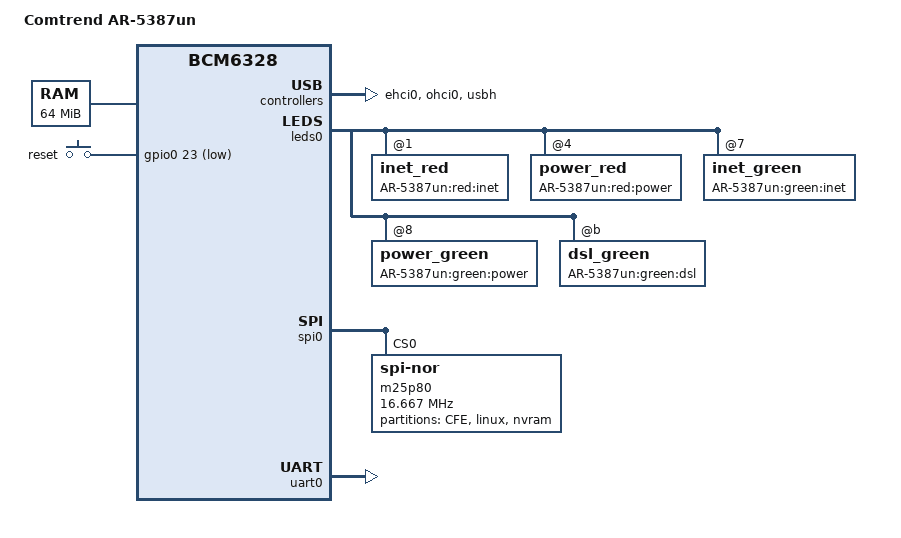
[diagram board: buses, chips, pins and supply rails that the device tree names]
/dts-v1/;

#include "bcm6328.dtsi"

/ {
	compatible = "comtrend,ar-5387un", "brcm,bcm6328";
	model = "Comtrend AR-5387un";

	memory@0 {
		device_type = "memory";
		reg = <0x00000000 0x04000000>;
	};

	chosen {
		bootargs = "earlycon";
		stdout-path = "uart0:115200";
	};

	gpio-keys-polled {
		compatible = "gpio-keys-polled";
		#address-cells = <1>;
		#size-cells = <0>;
		poll-interval = <20>;
		debounce-interval = <60>;

		reset {
			label = "reset";
			gpios = <&gpio0 23 GPIO_ACTIVE_LOW>;
			linux,code = <KEY_RESTART>;
		};
	};
};

&ehci0 {
	status = "ok";
};

&leds0 {
	status = "ok";

	inet_red@1 {
		reg = <1>;
		label = "AR-5387un:red:inet";
	};
	power_red@4 {
		reg = <4>;
		label = "AR-5387un:red:power";
	};
	inet_green@7 {
		reg = <7>;
		label = "AR-5387un:green:inet";
	};
	power_green@8 {
		reg = <8>;
		label = "AR-5387un:green:power";
		default-state = "on";
	};
	dsl_green@11 {
		reg = <11>;
		active-low;
		label = "AR-5387un:green:dsl";
	};
};

&ohci0 {
	status = "ok";
};

&spi0 {
	status = "okay";

	m25p80@0 {
		#address-cells = <1>;
		#size-cells = <1>;
		compatible = "jedec,spi-nor";
		reg = <0>;
		spi-max-frequency = <16666667>;

		partitions {
			cfe@0 {
				label = "CFE";
				reg = <0x000000 0x010000>;
				read-only;
			};
			linux@10000 {
				label = "linux";
				reg = <0x010000 0xfe0000>;
				read-only;
			};
			nvram@ff0000 {
				label = "nvram";
				reg = <0xff0000 0x010000>;
				read-only;
			};
		};
	};
};

&uart0 {
	status = "ok";
};

&usbh {
	status = "ok";
};
